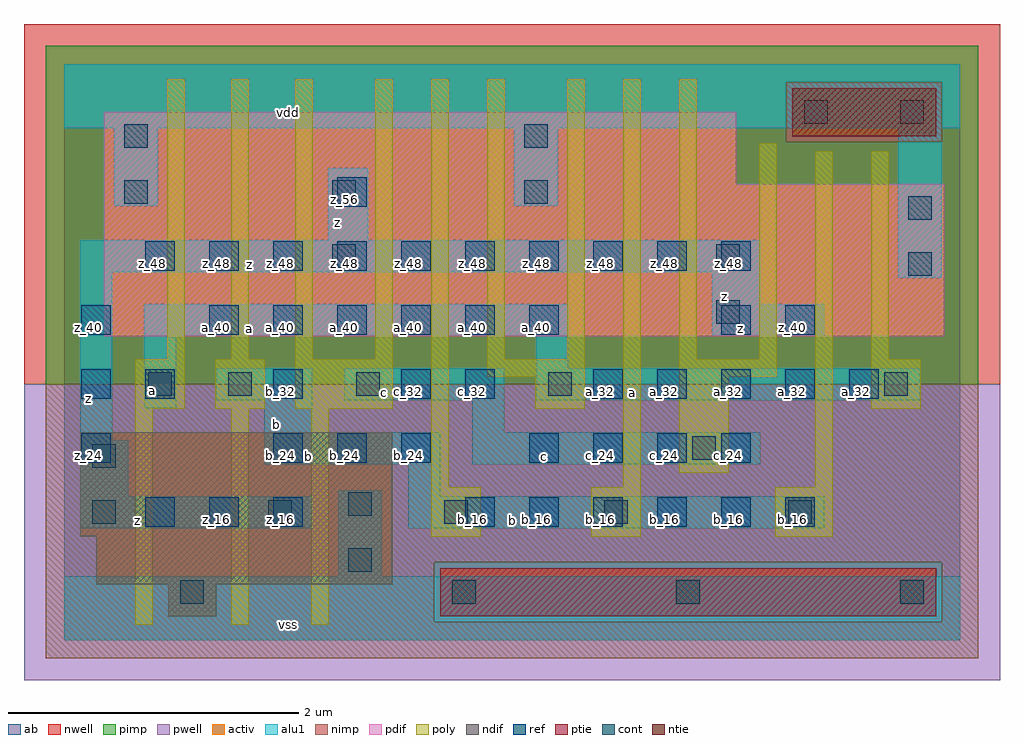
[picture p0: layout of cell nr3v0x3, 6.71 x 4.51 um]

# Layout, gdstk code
import gdstk
lib = gdstk.Library(unit=1e-6, precision=2.5e-09)
def R(c, l, rs):  # rectangles x0, y0, x1, y1
    for r in rs: c.add(gdstk.rectangle(r[:2], r[2:], *l))
def A(c, l, x, y, w, h, nx, ny, dx, dy):  # array of equal rectangles
    R(c, l, [(x+i*dx, y+j*dy, x+i*dx+w, y+j*dy+h) for i in range(nx) for j in range(ny)])
ndif = (3, 0)
pdif = (4, 0)
ntie = (5, 0)
ptie = (6, 0)
ref = (24, 0)
cont = (25, 0)
pwell = (41, 0)
nwell = (42, 0)
activ = (43, 0)
pimp = (44, 0)
nimp = (45, 0)
poly = (46, 0)
alu1 = (49, 0)
ab = (63, 0)

nr3v0x3 = lib.new_cell('nr3v0x3')
R(nr3v0x3, ndif, [(0.715,0.165,1.045,0.385), (0.22,0.385,2.255,0.715), (0.11,0.715,2.255,1.43)])
R(nr3v0x3, pdif, [(0.275,2.09,6.05,3.135), (0.275,3.135,4.62,3.63)])
R(nr3v0x3, ntie, [(5.005,3.465,5.995,3.795)])
R(nr3v0x3, ptie, [(2.585,0.165,5.995,0.495)])
A(nr3v0x3, ref, 0.56, 0.78, 0.2, 0.2, 3, 1, 0.44, 0)
A(nr3v0x3, ref, 2.76, 0.78, 0.2, 0.2, 6, 1, 0.44, 0)
A(nr3v0x3, ref, 0.12, 1.22, 0.2, 0.2, 1, 3, 0, 0.44)
A(nr3v0x3, ref, 1.44, 1.22, 0.2, 0.2, 3, 1, 0.44, 0)
A(nr3v0x3, ref, 3.2, 1.22, 0.2, 0.2, 4, 1, 0.44, 0)
A(nr3v0x3, ref, 0.56, 1.66, 0.2, 0.2, 3, 1, 0.88, 0)
A(nr3v0x3, ref, 3.64, 1.66, 0.2, 0.2, 5, 1, 0.44, 0)
A(nr3v0x3, ref, 1, 2.1, 0.2, 0.2, 6, 1, 0.44, 0)
A(nr3v0x3, ref, 0.56, 2.54, 0.2, 0.2, 10, 1, 0.44, 0)
R(nr3v0x3, ref, [(2.76,1.66,2.96,1.86), (4.52,2.1,4.72,2.3), (4.96,2.1,5.16,2.3), (1.88,2.98,2.08,3.18)])
A(nr3v0x3, cont, 2.67, 0.25, 0.16, 0.16, 3, 1, 1.54, 0)
A(nr3v0x3, cont, 0.195, 0.8, 0.16, 0.16, 3, 1, 1.21, 0)
R(nr3v0x3, cont, [(0.8,0.25,0.96,0.41), (1.955,0.47,2.115,0.63), (3.715,0.8,3.875,0.96), (4.98,0.8,5.14,0.96), (1.955,0.855,2.115,1.015), (0.195,1.185,0.355,1.345), (4.32,1.24,4.48,1.4), (0.58,1.68,0.74,1.84), (1.13,1.68,1.29,1.84), (2.01,1.68,2.17,1.84), (3.33,1.68,3.49,1.84), (5.64,1.68,5.8,1.84), (4.485,2.175,4.645,2.335), (5.805,2.505,5.965,2.665), (1.845,2.56,2.005,2.72), (4.485,2.56,4.645,2.72), (5.805,2.89,5.965,3.05), (0.415,3,0.575,3.16), (1.845,3,2.005,3.16), (3.165,3,3.325,3.16), (0.415,3.385,0.575,3.545), (3.165,3.385,3.325,3.545), (5.09,3.55,5.25,3.71), (5.75,3.55,5.91,3.71)])
R(nr3v0x3, pwell, [(-0.275,-0.275,6.435,1.76)])
R(nr3v0x3, nwell, [(-0.275,1.76,6.435,4.235)])
R(nr3v0x3, activ, [(0.715,0.165,1.045,0.385), (2.585,0.165,5.995,0.495), (0.22,0.385,2.255,0.715), (0.11,0.715,2.255,1.43), (0.275,2.09,6.05,3.135), (0.275,3.135,4.62,3.63), (5.005,3.465,5.995,3.795)])
R(nr3v0x3, pimp, [(2.545,0.125,6.035,0.535), (-0.125,1.76,6.285,3.425), (-0.125,3.425,4.965,3.835), (6.035,3.425,6.285,3.835), (-0.125,3.835,6.285,4.085)])
R(nr3v0x3, nimp, [(-0.125,-0.125,6.285,0.125), (-0.125,0.125,2.545,0.535), (6.035,0.125,6.285,0.535), (-0.125,0.535,6.285,1.76), (4.965,3.425,6.035,3.835)])
A(nr3v0x3, poly, 0.71, 1.93, 0.12, 1.925, 3, 1, 0.44, 0)
R(nr3v0x3, poly, [(0.49,0.105,0.61,1.59), (1.15,0.105,1.27,1.59), (1.7,0.105,1.82,1.59), (2.525,0.71,2.865,1.05), (3.625,0.71,3.965,1.05), (4.89,0.71,5.285,1.05), (2.525,1.05,2.645,3.855), (3.845,1.05,3.965,3.855), (5.165,1.05,5.285,3.36), (4.23,1.15,4.57,1.81), (0.49,1.59,0.83,1.93), (1.04,1.59,1.38,1.93), (1.59,1.59,2.26,1.93), (3.24,1.59,3.58,1.81), (5.55,1.59,5.89,1.93), (2.91,1.81,3.58,1.93), (4.23,1.81,4.9,1.93), (2.14,1.93,2.26,3.855), (2.91,1.93,3.03,3.855), (3.46,1.93,3.58,3.855), (4.23,1.93,4.35,3.855), (4.78,1.93,4.9,3.415), (5.55,1.93,5.67,3.36)])
R(nr3v0x3, alu1, [(0,0,6.16,0.44), (1.885,0.44,2.185,1.03), (0.11,0.77,1.705,0.99), (2.365,0.77,5.225,0.99), (0.11,0.99,0.44,1.375), (2.365,0.99,2.585,1.21), (1.375,1.21,2.585,1.43), (2.805,1.21,4.785,1.43), (0.11,1.375,0.33,2.53), (1.375,1.43,1.705,1.65), (2.805,1.43,3.025,1.65), (0.55,1.595,0.77,2.09), (1.045,1.65,1.705,1.87), (1.925,1.65,3.025,1.87), (3.245,1.65,5.885,1.87), (3.245,1.87,3.465,2.09), (0.55,2.09,3.465,2.31), (4.455,2.09,5.225,2.31), (4.455,2.31,4.785,2.53), (5.735,2.49,6.035,3.52), (0.11,2.53,4.785,2.75), (1.815,2.75,2.09,3.245), (0.345,2.985,0.645,3.52), (3.095,2.985,3.395,3.52), (0,3.52,6.16,3.96)])
R(nr3v0x3, ab, [(0,0,6.16,3.96)])
nr3v0x3.add(gdstk.Label('vss', (1.54,0.11), layer=49, texttype=0))
nr3v0x3.add(gdstk.Label('b', (3.08,0.825), layer=49, texttype=0))
nr3v0x3.add(gdstk.Label('z', (0.5075,0.825), layer=49, texttype=0))
nr3v0x3.add(gdstk.Label('c', (3.3,1.265), layer=49, texttype=0))
nr3v0x3.add(gdstk.Label('b', (1.6775,1.265), layer=49, texttype=0))
nr3v0x3.add(gdstk.Label('b', (1.4575,1.485), layer=49, texttype=0))
nr3v0x3.add(gdstk.Label('a', (3.905,1.705), layer=49, texttype=0))
nr3v0x3.add(gdstk.Label('c', (2.2,1.705), layer=49, texttype=0))
nr3v0x3.add(gdstk.Label('a', (0.605,1.7175), layer=49, texttype=0))
nr3v0x3.add(gdstk.Label('z', (4.6475,2.145), layer=49, texttype=0))
nr3v0x3.add(gdstk.Label('a', (1.2775,2.145), layer=49, texttype=0))
nr3v0x3.add(gdstk.Label('z', (4.5375,2.365), layer=49, texttype=0))
nr3v0x3.add(gdstk.Label('z', (0.165,1.6625), layer=49, texttype=0))
nr3v0x3.add(gdstk.Label('z', (1.2775,2.585), layer=49, texttype=0))
nr3v0x3.add(gdstk.Label('z', (1.8825,2.8725), layer=49, texttype=0))
nr3v0x3.add(gdstk.Label('vdd', (1.54,3.63), layer=49, texttype=0))
nr3v0x3.add(gdstk.Label('z_40', (5.01,2.15), layer=24, texttype=0))
nr3v0x3.add(gdstk.Label('a_32', (5.01,1.71), layer=24, texttype=0))
nr3v0x3.add(gdstk.Label('b_16', (5.01,0.83), layer=24, texttype=0))
nr3v0x3.add(gdstk.Label('z_48', (4.57,2.59), layer=24, texttype=0))
nr3v0x3.add(gdstk.Label('z_40', (4.57,2.15), layer=24, texttype=0))
nr3v0x3.add(gdstk.Label('a_32', (4.57,1.71), layer=24, texttype=0))
nr3v0x3.add(gdstk.Label('c_24', (4.57,1.27), layer=24, texttype=0))
nr3v0x3.add(gdstk.Label('b_16', (4.57,0.83), layer=24, texttype=0))
nr3v0x3.add(gdstk.Label('z_48', (4.13,2.59), layer=24, texttype=0))
nr3v0x3.add(gdstk.Label('a_32', (4.13,1.71), layer=24, texttype=0))
nr3v0x3.add(gdstk.Label('c_24', (4.13,1.27), layer=24, texttype=0))
nr3v0x3.add(gdstk.Label('b_16', (4.13,0.83), layer=24, texttype=0))
nr3v0x3.add(gdstk.Label('z_48', (3.69,2.59), layer=24, texttype=0))
nr3v0x3.add(gdstk.Label('a_32', (3.69,1.71), layer=24, texttype=0))
nr3v0x3.add(gdstk.Label('c_24', (3.69,1.27), layer=24, texttype=0))
nr3v0x3.add(gdstk.Label('b_16', (3.69,0.83), layer=24, texttype=0))
nr3v0x3.add(gdstk.Label('z_48', (3.25,2.59), layer=24, texttype=0))
nr3v0x3.add(gdstk.Label('a_40', (3.25,2.15), layer=24, texttype=0))
nr3v0x3.add(gdstk.Label('c_24', (3.25,1.27), layer=24, texttype=0))
nr3v0x3.add(gdstk.Label('b_16', (3.25,0.83), layer=24, texttype=0))
nr3v0x3.add(gdstk.Label('z_48', (2.81,2.59), layer=24, texttype=0))
nr3v0x3.add(gdstk.Label('a_40', (2.81,2.15), layer=24, texttype=0))
nr3v0x3.add(gdstk.Label('c_32', (2.81,1.71), layer=24, texttype=0))
nr3v0x3.add(gdstk.Label('b_16', (2.81,0.83), layer=24, texttype=0))
nr3v0x3.add(gdstk.Label('z_48', (2.37,2.59), layer=24, texttype=0))
nr3v0x3.add(gdstk.Label('a_40', (2.37,2.15), layer=24, texttype=0))
nr3v0x3.add(gdstk.Label('c_32', (2.37,1.71), layer=24, texttype=0))
nr3v0x3.add(gdstk.Label('b_24', (2.37,1.27), layer=24, texttype=0))
nr3v0x3.add(gdstk.Label('z_40', (0.17,2.15), layer=24, texttype=0))
nr3v0x3.add(gdstk.Label('z_32', (0.17,1.71), layer=24, texttype=0))
nr3v0x3.add(gdstk.Label('z_24', (0.17,1.27), layer=24, texttype=0))
nr3v0x3.add(gdstk.Label('z_56', (1.93,3.03), layer=24, texttype=0))
nr3v0x3.add(gdstk.Label('z_48', (1.93,2.59), layer=24, texttype=0))
nr3v0x3.add(gdstk.Label('a_40', (1.93,2.15), layer=24, texttype=0))
nr3v0x3.add(gdstk.Label('b_24', (1.93,1.27), layer=24, texttype=0))
nr3v0x3.add(gdstk.Label('z_48', (1.49,2.59), layer=24, texttype=0))
nr3v0x3.add(gdstk.Label('a_40', (1.49,2.15), layer=24, texttype=0))
nr3v0x3.add(gdstk.Label('b_32', (1.49,1.71), layer=24, texttype=0))
nr3v0x3.add(gdstk.Label('b_24', (1.49,1.27), layer=24, texttype=0))
nr3v0x3.add(gdstk.Label('z_16', (1.49,0.83), layer=24, texttype=0))
nr3v0x3.add(gdstk.Label('z_48', (1.05,2.59), layer=24, texttype=0))
nr3v0x3.add(gdstk.Label('a_40', (1.05,2.15), layer=24, texttype=0))
nr3v0x3.add(gdstk.Label('z_16', (1.05,0.83), layer=24, texttype=0))
nr3v0x3.add(gdstk.Label('z_48', (0.61,2.59), layer=24, texttype=0))
nr3v0x3.add(gdstk.Label('a_32', (0.61,1.71), layer=24, texttype=0))
nr3v0x3.add(gdstk.Label('z_16', (0.61,0.83), layer=24, texttype=0))
nr3v0x3.add(gdstk.Label('a_32', (5.45,1.71), layer=24, texttype=0))

lib.write_gds('nr3v0x3.gds')
